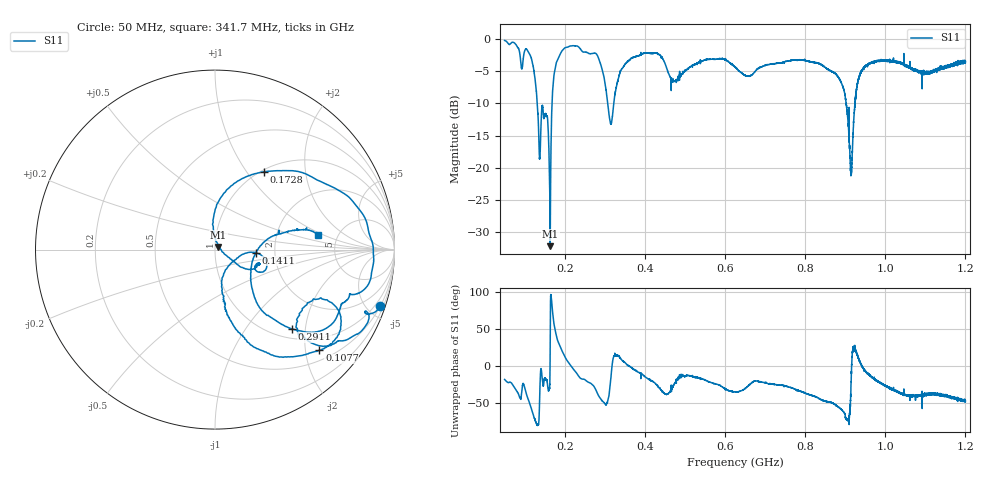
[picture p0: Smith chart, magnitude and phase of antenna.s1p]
! Calibrated high-resolution NanoVNA antenna measurement
# Hz S RI R 50
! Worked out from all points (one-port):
!   40001 points, 50 MHz to 1.2 GHz, reference 50 ohm
!   lowest |S11| = -32.2 dB at 163.8 MHz (marker M1), VSWR 1.05, Z = 52 + j1.57 ohm
!   |S11| at or under -10 dB: 131.4 MHz to 168.3 MHz (36.89 MHz wide, 24.6 % of centre); 307.3 MHz to 322.4 MHz (15.15 MHz wide, 4.81 % of centre); 903.2 MHz to 924.3 MHz (21.03 MHz wide, 2.3 % of centre)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
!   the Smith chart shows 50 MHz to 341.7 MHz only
!   S11 on the Smith chart (normalised r, x): 50 MHz: 0.52, -6.04; 107.7 MHz: 0.71, -2.29; 141.1 MHz: 1.58, -0.06; 172.8 MHz: 1.03, +1.21; 291.1 MHz: 1.19, -1.69; 341.7 MHz: 3.56, +0.88
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5e7  0.9216 -0.3117
8.37525e7  0.6802 -0.5138
9.68625e7  0.6518 -0.3007
1.076725e8  0.5815 -0.5608
1.2981e8  0.0701 -0.3695
1.411375e8  0.2265 -0.0168
1.527238e8  0.2488 -0.0866
1.637638e8  0.0194 0.0151
1.728488e8  0.2721 0.4331
1.9375e8  0.7651 0.2717
2.289112e8  0.8706 -0.1459
2.910975e8  0.4271 -0.4415
3.147875e8  0.206 -0.0738
3.375e8  0.5305 0.1057
3.417262e8  0.5769 0.0812
3.969838e8  0.7525 -0.178
4.430412e8  0.5897 -0.4056
4.8125e8  0.4601 -0.1551
5.514575e8  0.649 -0.2324
6.25e8  0.4919 -0.3527
7.6875e8  0.5881 -0.3459
8.83635e8  0.2771 -0.4153
9.00195e8  0.117 -0.3274
9.125e8  0.0636 -0.0875
9.2561e8  0.324 0.1261
9.437225e8  0.5814 -0.0231
1.05625e9  0.4672 -0.3955
1.2e9  0.452 -0.5091
